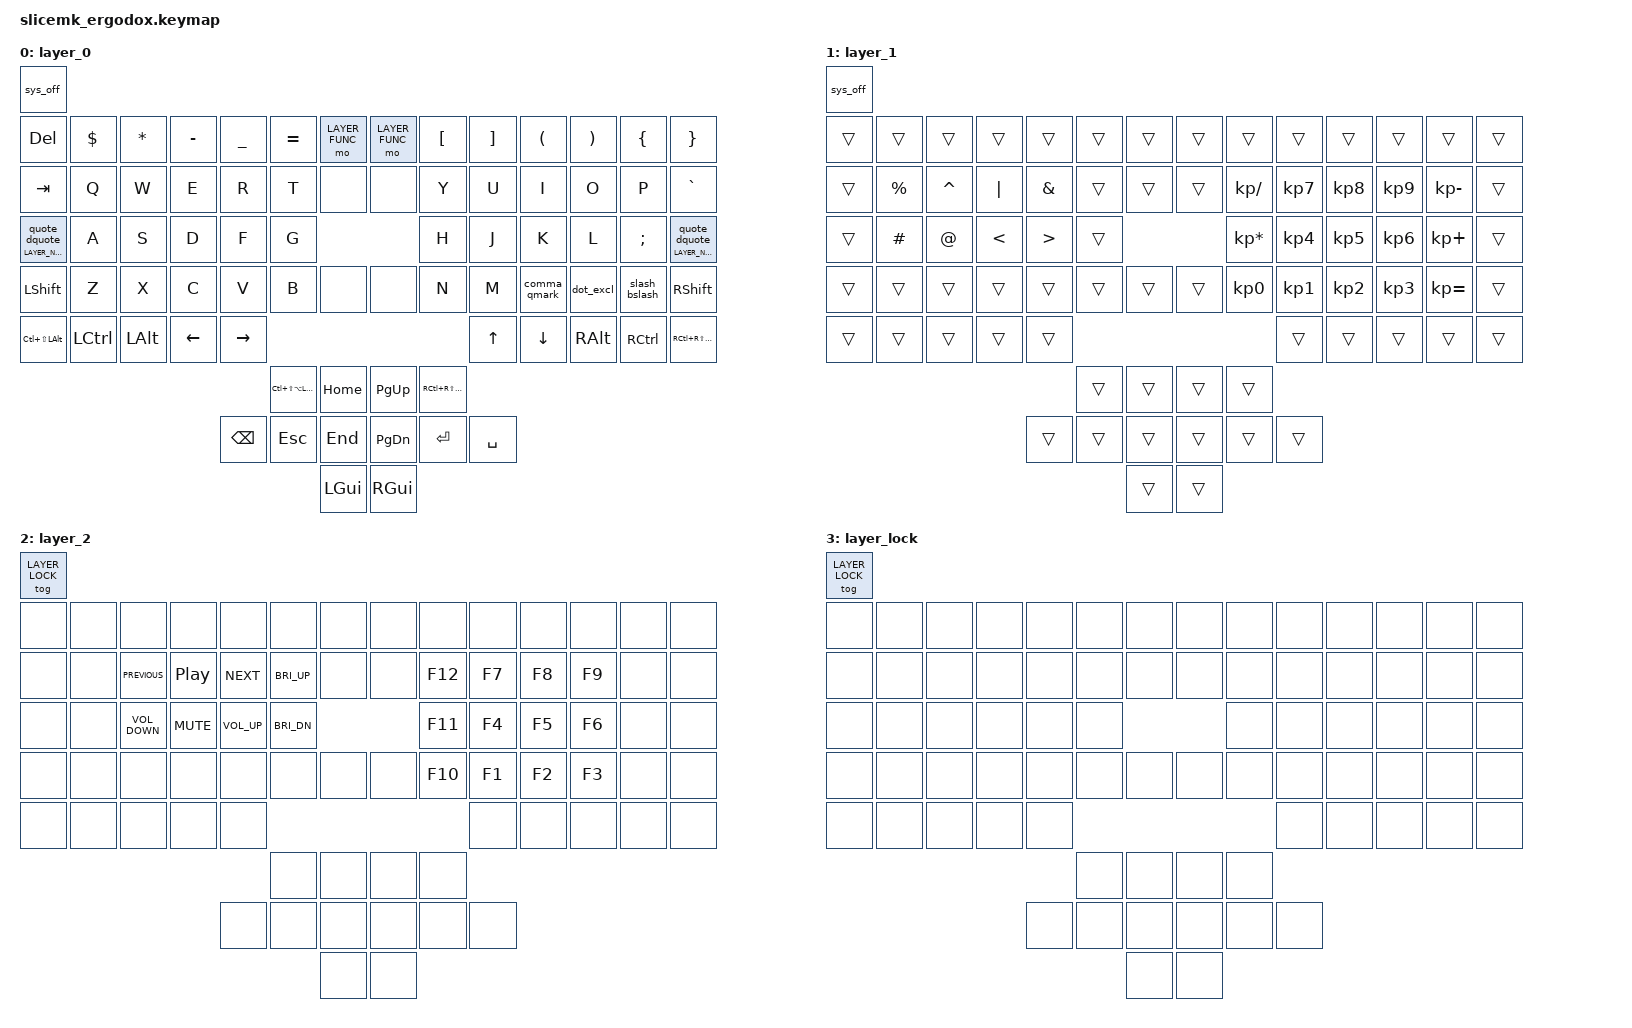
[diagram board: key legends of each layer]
#define LAYER_MAIN 0
#define LAYER_NUMSYM 1
#define LAYER_FUNC 2
#define LAYER_LOCK 3

#include <behaviors.dtsi>
#include <dt-bindings/zmk/bt.h>
#include <dt-bindings/zmk/keys.h>
#include <dt-bindings/zmk/outputs.h>
// #include <dt-bindings/zmk/pointing.h>
#include <dt-bindings/zmk/rgb.h>

/ {
	behaviors {
		comma_qmark: comma_qmark {
			compatible = "zmk,behavior-mod-morph";
			#binding-cells = <0>;
			bindings = <&kp COMMA>, <&kp QUESTION>;
			mods = <(MOD_LSFT|MOD_RSFT)>;
		};
		dot_excl: dot_excl {
			compatible = "zmk,behavior-mod-morph";
			#binding-cells = <0>;
			bindings = <&kp PERIOD>, <&kp EXCLAMATION>;
			mods = <(MOD_LSFT|MOD_RSFT)>;
		};
		slash_bslash: slash_bslash {
			compatible = "zmk,behavior-mod-morph";
			#binding-cells = <0>;
			bindings = <&kp SLASH>, <&kp BACKSLASH>;
			mods = <(MOD_LSFT|MOD_RSFT)>;
		};
		quote_dquote: quote_dquote {
			compatible = "zmk,behavior-mod-morph";
			#binding-cells = <0>;
			bindings = <&kp SINGLE_QUOTE>, <&kp DOUBLE_QUOTES>;
			mods = <(MOD_LSFT|MOD_RSFT)>;
		};
		numsym_quote: numsym_quote {
			compatible = "zmk,behavior-hold-tap";
			#binding-cells = <2>;
			flavor = "balanced";
			tapping-term-ms = <200>;
			bindings = <&mo>, <&quote_dquote>;
		};
	};
	keymap {
		compatible = "zmk,keymap";
		layer_0 {
			bindings = <
				&sys_off
				&kp DELETE           &kp DOLLAR       &kp ASTERISK &kp MINUS      &kp UNDERSCORE  &kp EQUAL                &mo LAYER_FUNC &mo LAYER_FUNC &kp LEFT_BRACKET          &kp RIGHT_BRACKET &kp LEFT_PARENTHESIS &kp RIGHT_PARENTHESIS &kp LEFT_BRACE    &kp RIGHT_BRACE
				&kp TAB              &kp Q            &kp W        &kp E          &kp R           &kp T                    &none          &none          &kp Y                     &kp U             &kp I                &kp O                 &kp P             &kp GRAVE
				&numsym_quote LAYER_NUMSYM 0 &kp A   &kp S        &kp D          &kp F           &kp G                                                  &kp H                     &kp J             &kp K                &kp L                 &kp SEMICOLON     &numsym_quote LAYER_NUMSYM 0
				&kp LEFT_SHIFT       &kp Z            &kp X        &kp C          &kp V           &kp B                    &none          &none          &kp N                     &kp M             &comma_qmark         &dot_excl             &slash_bslash         &kp RIGHT_SHIFT
				&kp LC(LS(LEFT_ALT)) &kp LEFT_CONTROL &kp LEFT_ALT &kp LEFT_ARROW &kp RIGHT_ARROW                                                                                  &kp UP_ARROW      &kp DOWN_ARROW       &kp RIGHT_ALT         &kp RIGHT_CONTROL &kp RC(RS(RIGHT_ALT))
				                                                                                  &kp LC(LS(LA(LEFT_GUI))) &kp HOME       &kp PAGE_UP    &kp RC(RS(RA(RIGHT_GUI)))
				                                                                  &kp BACKSPACE   &kp ESCAPE               &kp END        &kp PAGE_DOWN  &kp RETURN                &kp SPACE
				                                                                                                           &kp LEFT_GUI   &kp RIGHT_GUI
			>;
		};
		layer_1 {
			bindings = <
				&sys_off
				&trans &trans      &trans      &trans        &trans           &trans &trans &trans &trans          &trans          &trans          &trans          &trans       &trans
				&trans &kp PERCENT &kp CARET   &kp PIPE      &kp AMPERSAND    &trans &trans &trans &kp KP_DIVIDE   &kp KP_NUMBER_7 &kp KP_NUMBER_8 &kp KP_NUMBER_9 &kp KP_MINUS &trans
				&trans &kp HASH    &kp AT_SIGN &kp LESS_THAN &kp GREATER_THAN &trans               &kp KP_MULTIPLY &kp KP_NUMBER_4 &kp KP_NUMBER_5 &kp KP_NUMBER_6 &kp KP_PLUS  &trans
				&trans &trans      &trans      &trans        &trans           &trans &trans &trans &kp KP_NUMBER_0 &kp KP_NUMBER_1 &kp KP_NUMBER_2 &kp KP_NUMBER_3 &kp KP_EQUAL &trans
				&trans &trans      &trans      &trans        &trans                                                &trans          &trans          &trans          &trans       &trans
				                                                              &trans &trans &trans &trans
				                                             &trans           &trans &trans &trans &trans          &trans
				                                                                     &trans &trans
			>;
		};
		layer_2 {
			bindings = <
				&tog LAYER_LOCK
				&none &none &none             &none            &none           &none            &none &none &none   &none   &none   &none   &none   &none
				&none &none &kp C_PREVIOUS    &kp C_PLAY_PAUSE &kp C_NEXT      &kp C_BRI_UP     &none &none &kp F12 &kp F7  &kp F8  &kp F9  &none   &none
				&none &none &kp C_VOLUME_DOWN &kp C_MUTE       &kp C_VOLUME_UP &kp C_BRI_DN                 &kp F11 &kp F4  &kp F5  &kp F6  &none   &none
				&none &none &none             &none            &none           &none            &none &none &kp F10 &kp F1  &kp F2  &kp F3  &none   &none
				&none &none &none             &none            &none                                        &none   &none   &none   &none   &none
				                                                              &none &none &none &none
				                                                        &none &none &none &none &none   &none
				                                                                    &none &none
			>;
		};
		layer_lock {
			bindings = <
				&tog LAYER_LOCK
				&none &none &none &none &none &none &none &none &none &none &none &none &none &none
				&none &none &none &none &none &none &none &none &none &none &none &none &none &none
				&none &none &none &none &none &none                   &none &none &none &none &none &none
				&none &none &none &none &none &none &none &none &none &none &none &none &none &none
				&none &none &none &none &none                               &none &none &none &none &none
				                                    &none &none &none &none
				                              &none &none &none &none &none &none
				                                          &none &none
			>;
		};
	};
};
